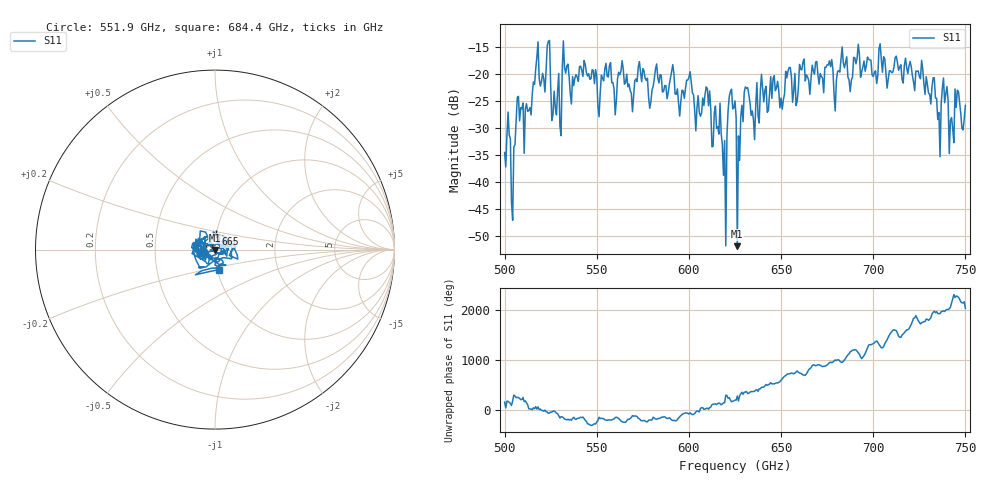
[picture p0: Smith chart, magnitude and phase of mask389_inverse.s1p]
!Created with skrf (http://scikit-rf.org).
# GHz S MA R 50.0
!freq magS11 angS11
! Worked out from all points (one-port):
!   401 points, 500 GHz to 750 GHz, reference 50 ohm
!   lowest |S11| = -51.9 dB at 626.2 GHz (marker M1), VSWR 1.01, Z = 50 - j0.249 ohm
!   |S11| at or under -10 dB: start of sweep to end of sweep
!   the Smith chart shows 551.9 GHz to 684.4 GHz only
!   S11 on the Smith chart (normalised r, x): 551.9 GHz: 0.88, -0.02; 665 GHz: 0.99, +0.17; 684.4 GHz: 1.02, -0.23
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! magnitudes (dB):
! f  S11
! 500 GHz  -34.6
! 504.4 GHz  -47.1
! 507.5 GHz  -24.2
! 511.9 GHz  -25.5
! 516.9 GHz  -19.1
! 523.8 GHz  -14.0
! 526.9 GHz  -23.2
! 531.2 GHz  -19.5
! 551.9 GHz  -23.5
! 562.5 GHz  -20.2
! 593.8 GHz  -22.8
! 610 GHz  -22.8
! 618.8 GHz  -38.8
! 622.5 GHz  -23.3
! 625 GHz  -25.0
! 626.2 GHz  -51.9
! 631.2 GHz  -22.7
! 635 GHz  -28.4
! 656.2 GHz  -25.2
! 665 GHz  -21.2
! 684.4 GHz  -18.9
! 687.5 GHz  -23.3
! 718.8 GHz  -19.9
! 735.6 GHz  -27.2
! 738.8 GHz  -25.4
! 742.5 GHz  -28.1
! 745.6 GHz  -23.0
! 750 GHz  -25.9
